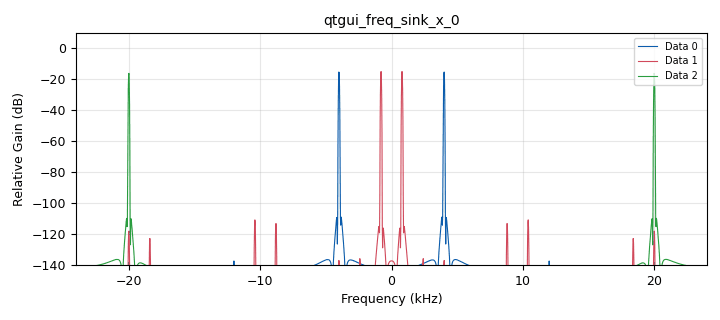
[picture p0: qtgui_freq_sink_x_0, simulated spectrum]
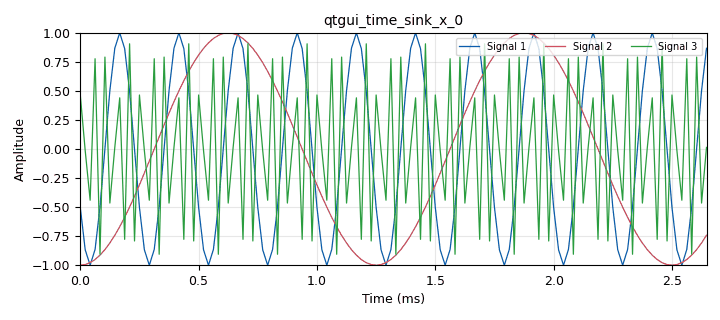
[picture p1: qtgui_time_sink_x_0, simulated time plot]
options:
  parameters:
    generate_options: qt_gui
    id: Lab1_punto3
    output_language: python
    title: Lab1_punto3_interpolado
  states: {}

blocks:
- name: freq
  id: variable_qtgui_range
  parameters:
    label: frequency
    start: '1000'
    step: '1000'
    stop: '4000'
    value: '4000'
  states: {}
- name: samp_rate
  id: variable
  parameters:
    value: '48000'
  states: {}
- name: analog_sig_source_x_0
  id: analog_sig_source_x
  parameters:
    amp: '1'
    freq: freq
    offset: '0'
    phase: '0'
    samp_rate: samp_rate
    type: float
    waveform: analog.GR_COS_WAVE
  states: {}
- name: analog_sig_source_x_0_0
  id: analog_sig_source_x
  parameters:
    amp: '1'
    freq: freq
    offset: '0'
    phase: '0'
    samp_rate: samp_rate
    type: float
    waveform: analog.GR_COS_WAVE
  states: {}
- name: analog_sig_source_x_0_1
  id: analog_sig_source_x
  parameters:
    amp: '1'
    freq: freq
    offset: '0'
    phase: '0'
    samp_rate: samp_rate
    type: float
    waveform: analog.GR_COS_WAVE
  states: {}
- name: blocks_throttle2_0
  id: blocks_throttle2
  parameters:
    samples_per_second: samp_rate
    type: float
  states: {}
- name: qtgui_freq_sink_x_0
  id: qtgui_freq_sink_x
  parameters:
    bw: samp_rate
    fc: '0'
    fftsize: '2048'
    nconnections: '3'
    type: float
  states: {}
- name: qtgui_time_sink_x_0
  id: qtgui_time_sink_x
  parameters:
    nconnections: '3'
    size: '128'
    srate: samp_rate
    type: float
  states: {}
- name: rational_resampler_xxx_0
  id: rational_resampler_xxx
  parameters:
    decim: '1'
    interp: '1'
    type: fff
  states: {}
- name: rational_resampler_xxx_0_0
  id: rational_resampler_xxx
  parameters:
    decim: '1'
    interp: '5'
    type: fff
  states: {}
- name: rational_resampler_xxx_0_1
  id: rational_resampler_xxx
  parameters:
    decim: '5'
    interp: '1'
    type: fff
  states: {}

connections:
- [analog_sig_source_x_0, '0', rational_resampler_xxx_0, '0']
- [analog_sig_source_x_0_0, '0', rational_resampler_xxx_0_0, '0']
- [analog_sig_source_x_0_1, '0', rational_resampler_xxx_0_1, '0']
- [blocks_throttle2_0, '0', qtgui_freq_sink_x_0, '0']
- [blocks_throttle2_0, '0', qtgui_time_sink_x_0, '0']
- [rational_resampler_xxx_0, '0', blocks_throttle2_0, '0']
- [rational_resampler_xxx_0_0, '0', qtgui_freq_sink_x_0, '1']
- [rational_resampler_xxx_0_0, '0', qtgui_time_sink_x_0, '1']
- [rational_resampler_xxx_0_1, '0', qtgui_freq_sink_x_0, '2']
- [rational_resampler_xxx_0_1, '0', qtgui_time_sink_x_0, '2']

metadata:
  file_format: 1
  grc_version: 3.10.7.0
